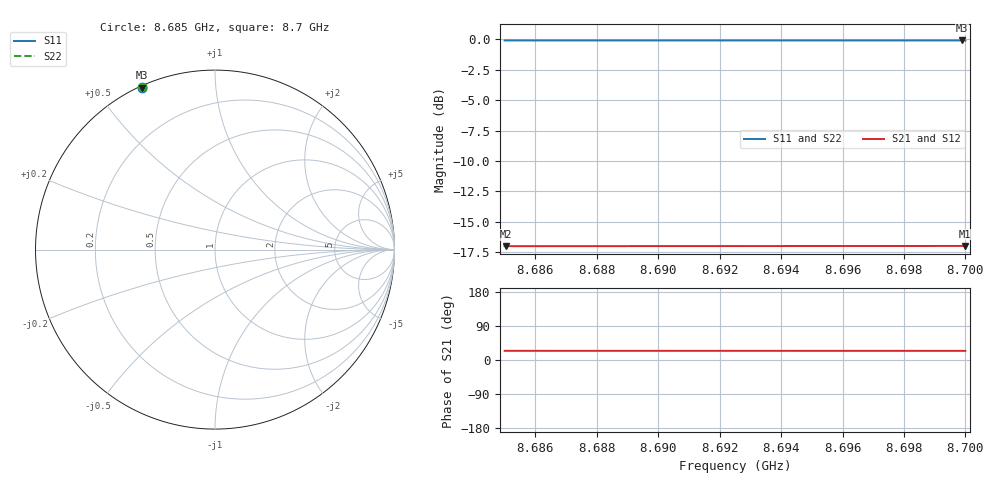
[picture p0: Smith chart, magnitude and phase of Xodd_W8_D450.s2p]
! Sonnet Data File
! From: emgraph Version : 16.52
! From Project: Qubit_Xmon2_brg
! Data is De-embedded
! Data File Written: 10/24/2017 23:45:54
!< HDATE 10/24/2017 16:04:25
!< MDATE 10/24/2017 16:04:25
!< PARAMS
!< Lj = 11.0
!< Gap = 6.0
!< Pwid = 2000.0
!< Airgap = 6.0
!< Width = 10.0
!< Bwid = 8.0
!< Dis1 = 450.0
!< Dis2 = 456.0
!< END PARAMS
# GHZ S MA R 34.70000
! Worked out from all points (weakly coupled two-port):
!   3001 points, 8.685 GHz to 8.7 GHz, reference 34.7 ohm
!   highest |S21| = -16.98 dB at 8.69998 GHz (marker M1); lowest = -17.0 dB at 8.68504 GHz (marker M2)
!   lowest |S11| = -0.1 dB at 8.6999 GHz (marker M3), VSWR 197.63, Z = 0.249 + j22.4 ohm
!   |S11| at or under -10 dB: nowhere
!   |S22| runs from -0.1 to -0.1 dB; largest |S21 - S12| = 0
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8.685  0.99 114.3  0.1412 24.2  0.1412 24.2  0.99 114.2
!< P1 F=8.685 Eeff=(5.13559215 -5.6621e-5) Z0=(34.6542042 -9.3986e-5) R=0.0 C=0.0
!< P2 F=8.685 Eeff=(5.13559215 -5.6621e-5) Z0=(34.6542042 -9.3986e-5) R=0.0 C=0.0
8.68504  0.99 114.3  0.1412 24.2  0.1412 24.2  0.99 114.2
8.68699  0.99 114.3  0.1413 24.2  0.1413 24.2  0.99 114.2
8.68716  0.99 114.3  0.1413 24.2  0.1413 24.2  0.99 114.2
8.6875  0.99 114.3  0.1413 24.2  0.1413 24.2  0.99 114.2
8.689575  0.99 114.3  0.1413 24.2  0.1413 24.2  0.99 114.1
8.68975  0.99 114.3  0.1413 24.2  0.1413 24.2  0.99 114.1
8.69  0.99 114.3  0.1413 24.2  0.1413 24.2  0.99 114.1
8.692155  0.99 114.3  0.1414 24.2  0.1414 24.2  0.99 114.1
8.692335  0.99 114.3  0.1414 24.2  0.1414 24.2  0.99 114.1
8.6925  0.99 114.3  0.1414 24.2  0.1414 24.2  0.99 114.1
8.694735  0.9899 114.2  0.1414 24.2  0.1414 24.2  0.9899 114.1
8.695  0.9899 114.2  0.1414 24.2  0.1414 24.2  0.9899 114.1
8.696025  0.9899 114.2  0.1414 24.2  0.1414 24.2  0.9899 114.1
8.696215  0.9899 114.2  0.1414 24.2  0.1414 24.2  0.9899 114.1
8.69637  0.9899 114.2  0.1415 24.2  0.1415 24.2  0.9899 114.1
8.697315  0.9899 114.2  0.1415 24.2  0.1415 24.2  0.9899 114.1
8.6975  0.9899 114.2  0.1415 24.2  0.1415 24.2  0.9899 114.1
8.69766  0.9899 114.2  0.1415 24.1  0.1415 24.1  0.9899 114.1
8.6999  0.9899 114.2  0.1415 24.1  0.1415 24.1  0.9899 114.1
8.699985  0.9899 114.2  0.1415 24.1  0.1415 24.1  0.9899 114.0
8.7  0.9899 114.2  0.1415 24.1  0.1415 24.1  0.9899 114.0
